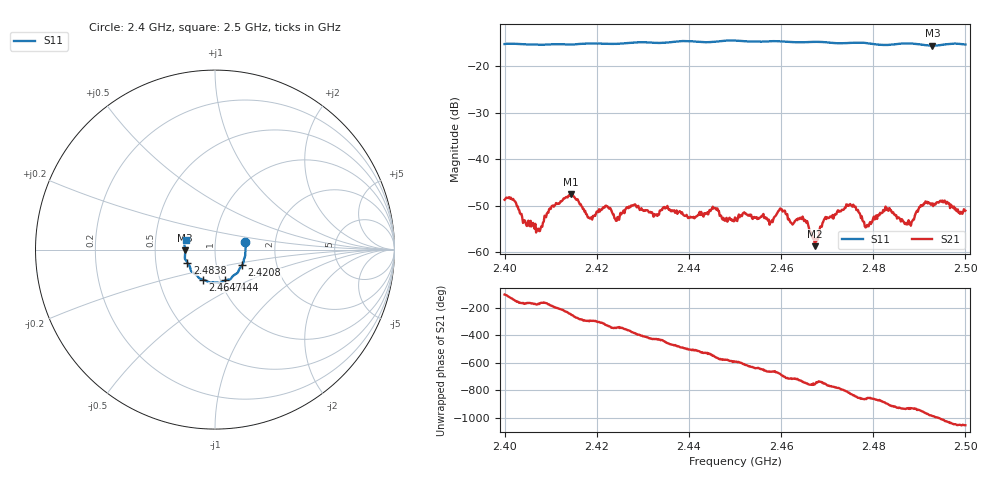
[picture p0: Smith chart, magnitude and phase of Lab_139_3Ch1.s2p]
# Hz S RI R 50
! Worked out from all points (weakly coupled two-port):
!   601 points, 2.4 GHz to 2.5 GHz, reference 50 ohm
!   highest |S21| = -47.50 dB at 2.4143 GHz (marker M1); lowest = -58.7 dB at 2.4673 GHz (marker M2)
!   lowest |S11| = -15.6 dB at 2.4928 GHz (marker M3), VSWR 1.40, Z = 35.8 - j0.34 ohm
!   |S11| at or under -10 dB: start of sweep to end of sweep
!   S12 and S22 are empty: the file has one direction only
!   S11 on the Smith chart (normalised r, x): 2.4 GHz: 1.40, +0.12; 2.4208 GHz: 1.33, -0.24; 2.444 GHz: 1.06, -0.37; 2.4647 GHz: 0.83, -0.29; 2.4838 GHz: 0.73, -0.11; 2.5 GHz: 0.72, +0.08
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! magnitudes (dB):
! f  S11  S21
! 2.4 GHz  -15.3  -48.7
! 2.4073 GHz  -15.4  -55.0
! 2.4143 GHz  -15.4  -47.5
! 2.4167 GHz  -15.2  -50.1
! 2.4185 GHz  -15.2  -52.8
! 2.4208 GHz  -15.2  -50.9
! 2.4333 GHz  -15.0  -51.9
! 2.444 GHz  -14.9  -51.4
! 2.45 GHz  -14.5  -52.5
! 2.4577 GHz  -14.7  -53.5
! 2.4602 GHz  -14.7  -50.8
! 2.4647 GHz  -14.9  -52.3
! 2.4667 GHz  -14.8  -55.8
! 2.4673 GHz  -14.8  -58.7
! 2.4695 GHz  -14.9  -52.7
! 2.4747 GHz  -15.0  -50.1
! 2.4787 GHz  -15.1  -54.2
! 2.4833 GHz  -15.5  -51.1
! 2.4838 GHz  -15.4  -51.0
! 2.4877 GHz  -15.1  -53.1
! 2.4928 GHz  -15.6  -49.5
! 2.5 GHz  -15.4  -51.1
